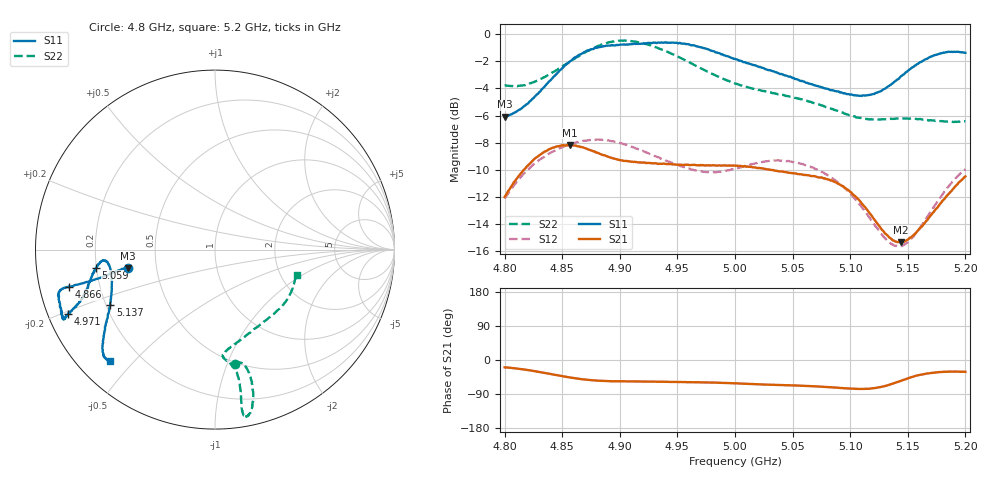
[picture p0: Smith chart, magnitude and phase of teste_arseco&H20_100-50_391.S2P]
! Network Analyzer HP8722D
! Hewlett-Packard
! Data name: Linha & Wilkinson
! Saver's name: Rodrigo Anjos
! Comments: Teste da utilização de aquisição
! continua pelo VNA HP8722D
! Time and date: 6/5/2025 15:49
!  Frequency  S11  S21  S12  S22
# HZ  S  MA R 50
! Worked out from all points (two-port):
!   401 points, 4.8 GHz to 5.2 GHz, reference 50 ohm
!   highest |S21| = -8.17 dB at 4.857 GHz (marker M1); lowest = -15.3 dB at 5.144 GHz (marker M2)
!   |S21| within 3 dB of the highest: 4.806 GHz to 5.093 GHz (286.6 MHz wide, 5.79 % of centre); 5.191727 GHz to end of sweep
!   lowest |S11| = -6.1 dB at 4.8 GHz (marker M3), VSWR 2.97, Z = 17 - j4.62 ohm
!   |S11| at or under -10 dB: nowhere
!   |S22| runs from -6.5 to -0.5 dB; largest |S21 - S12| = 0.62
!   S11 on the Smith chart (normalised r, x): 4.8 GHz: 0.34, -0.09; 4.866 GHz: 0.09, -0.13; 4.971 GHz: 0.06, -0.21; 5.059 GHz: 0.20, -0.07; 5.137 GHz: 0.22, -0.24; 5.2 GHz: 0.09, -0.43
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4.8e9  0.4961 -168.1  0.2514 -19.4  0.2482 -140.7  0.6466 -80.3
4.828e9  0.5996 -167.0  0.3525 -30.3  0.3379 -144.6  0.6742 -75.4
4.857e9  0.7946 -165.7  0.3904 -46.2  0.3937 -150.1  0.7923 -74.7
4.866e9  0.8415 -165.6  0.3834 -50.1  0.4023 -151.7  0.8376 -75.3
4.867e9  0.8469 -165.8  0.384 -50.8  0.4033 -151.8  0.8426 -75.3
4.88e9  0.8887 -165.3  0.3663 -54.5  0.409 -154.0  0.9 -76.6
4.9e9  0.9131 -162.5  0.3436 -56.3  0.3968 -156.3  0.9439 -79.0
4.934e9  0.9296 -156.3  0.3331 -57.4  0.3519 -155.6  0.8837 -80.4
4.971e9  0.8925 -156.4  0.3286 -59.1  0.3123 -146.4  0.7457 -79.6
5e9  0.8102 -158.9  0.3277 -61.7  0.3198 -137.1  0.6576 -81.2
5.035e9  0.7237 -165.2  0.3143 -65.6  0.3423 -134.2  0.6034 -85.6
5.059e9  0.6695 -171.3  0.3035 -68.0  0.3326 -135.9  0.5728 -84.3
5.067e9  0.6536 -172.9  0.3 -69.1  0.3231 -136.6  0.5593 -82.7
5.083e9  0.621 -174.4  0.289 -72.1  0.2977 -138.0  0.5319 -76.8
5.101e9  0.5995 -172.0  0.2616 -75.6  0.2564 -138.7  0.5011 -66.6
5.116e9  0.5961 -165.4  0.2218 -76.0  0.213 -135.4  0.4848 -55.8
5.134e9  0.6451 -154.4  0.1784 -65.4  0.1708 -120.8  0.4863 -43.3
5.137e9  0.659 -152.3  0.1739 -62.3  0.1681 -117.0  0.4878 -41.4
5.144e9  0.6984 -148.7  0.1711 -54.7  0.1659 -107.6  0.488 -37.5
5.154e9  0.7537 -144.4  0.1805 -44.4  0.1785 -95.2  0.4877 -32.3
5.174e9  0.8378 -138.3  0.2263 -32.7  0.2359 -80.2  0.4787 -23.9
5.2e9  0.8524 -133.5  0.2991 -31.2  0.3186 -76.7  0.4772 -17.5
